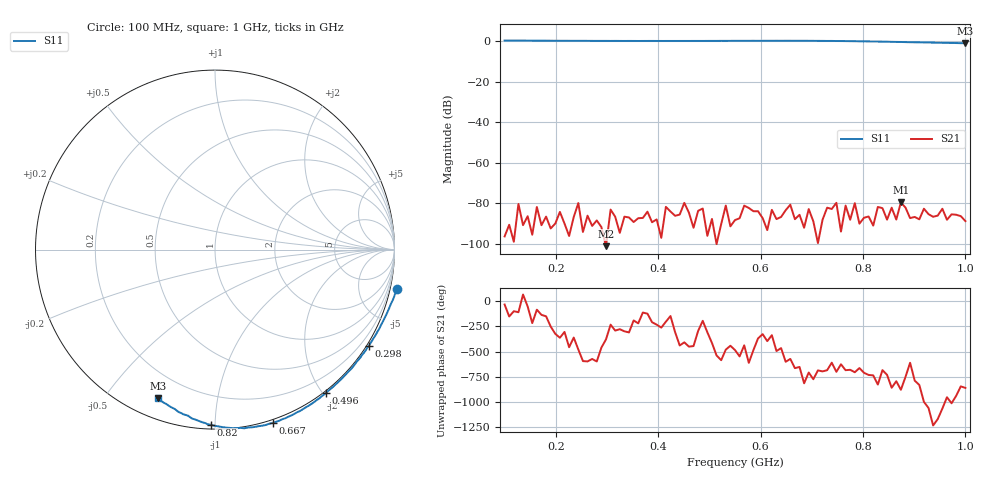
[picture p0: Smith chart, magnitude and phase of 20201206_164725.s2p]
# HZ S RI R 50
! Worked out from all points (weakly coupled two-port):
!   101 points, 100 MHz to 1 GHz, reference 50 ohm
!   highest |S21| = -79.69 dB at 874 MHz (marker M1); lowest = -101.3 dB at 298 MHz (marker M2)
!   lowest |S11| = -1.1 dB at 1 GHz (marker M3), VSWR 16.48, Z = 4.46 - j34.2 ohm
!   |S11| at or under -10 dB: nowhere
!   S12 and S22 are empty: the file has one direction only
!   S11 on the Smith chart (normalised r, x): 100 MHz: -1.53, -9.09; 298 MHz: -0.07, -3.48; 496 MHz: -0.02, -2.04; 667 MHz: -0.03, -1.39; 820 MHz: 0.02, -0.97; 1 GHz: 0.09, -0.68
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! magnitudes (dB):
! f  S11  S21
! 100 MHz  0.3  -96.5
! 154 MHz  0.2  -95.6
! 253 MHz  0.1  -94.3
! 298 MHz  0.1  -101.3
! 406 MHz  0.1  -97.2
! 442 MHz  0.1  -85.7
! 451 MHz  0.1  -79.9
! 460 MHz  0.1  -84.7
! 496 MHz  0.1  -96.2
! 550 MHz  0.1  -88.4
! 667 MHz  0.2  -87.9
! 703 MHz  0.1  -89.0
! 739 MHz  0.1  -82.9
! 748 MHz  0.0  -79.9
! 757 MHz  0.0  -94.1
! 784 MHz  -0.1  -80.0
! 820 MHz  -0.2  -91.1
! 856 MHz  -0.4  -82.3
! 865 MHz  -0.4  -88.1
! 874 MHz  -0.4  -79.7
! 883 MHz  -0.5  -82.2
! 1 GHz  -1.1  -88.9
